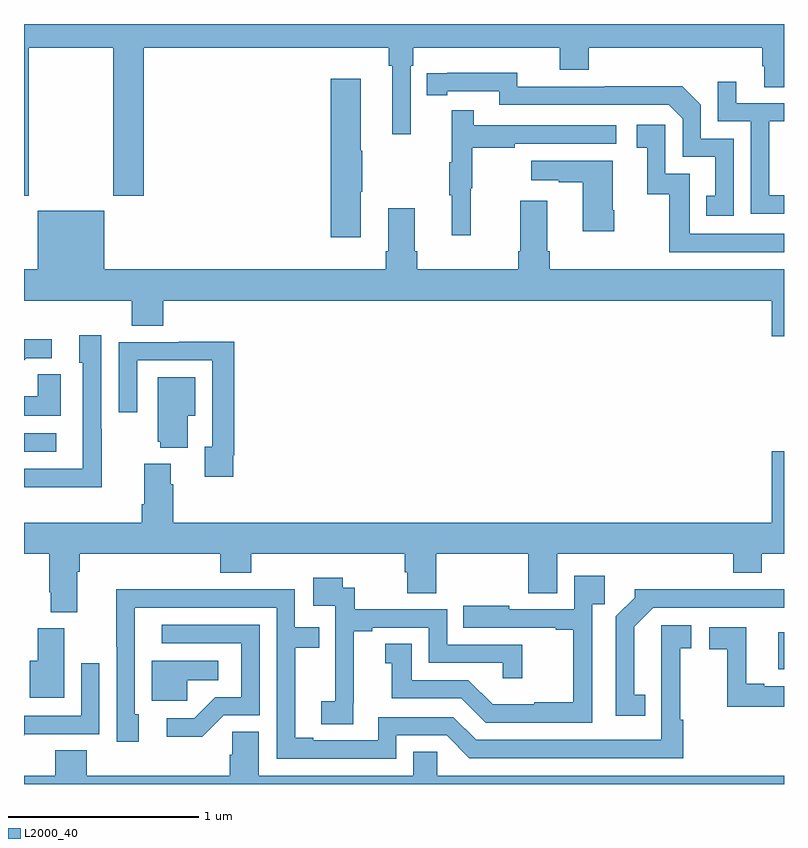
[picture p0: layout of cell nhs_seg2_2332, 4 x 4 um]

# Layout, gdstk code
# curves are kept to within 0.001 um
import gdstk
lib = gdstk.Library(unit=1e-6, precision=1e-09)
def R(c, l, rs):  # rectangles x0, y0, x1, y1
    for r in rs: c.add(gdstk.rectangle(r[:2], r[2:], *l))
def P(c, l, *ps):  # polygons
    for p in ps: c.add(gdstk.Polygon(p, *l))
L2000_40 = (2000, 40)

nhs_seg2_2332 = lib.new_cell('nhs_seg2_2332')
R(nhs_seg2_2332, L2000_40, [(236.969,604.403,237,604.6), (233,605.55,233.17,605.646)])
P(nhs_seg2_2332, L2000_40, [(233.025,607.676),(233.47,607.676),(233.47,606.897),(233.63,606.897),(233.63,607.676),(234.919,607.676),(234.919,607.58),(234.938,607.58),(234.938,607.221),(235.035,607.221),(235.035,607.58),(235.049,607.58),(235.049,607.676),(235.82,607.676),(235.82,607.559),(235.973,607.559),(235.973,607.676),(236.885,607.676),(236.885,607.578),(236.897,607.578),(236.897,607.468),(237,607.468),(237,607.8),(233,607.8),(233,606.897),(233.025,606.897)],
  [(236.736,607.197),(236.562,607.197),(236.562,607.374),(236.464,607.472),(236.056,607.472),(236.056,607.47),(235.596,607.47),(235.596,607.543),(235.12,607.542),(235.12,607.426),(235.228,607.426),(235.228,607.446),(235.5,607.446),(235.5,607.374),(236.394,607.374),(236.466,607.302),(236.466,607.101),(236.639,607.101),(236.639,606.897),(236.59,606.897),(236.59,606.792),(236.736,606.792)],
  [(234.772,606.916),(234.78,606.916),(234.78,607.133),(234.772,607.133),(234.772,607.513),(234.614,607.513),(234.614,606.678),(234.772,606.678)],
  [(237,606.898),(236.922,606.898),(236.922,607.287),(237,607.287),(237,607.383),(236.749,607.383),(236.749,607.495),(236.652,607.495),(236.652,607.287),(236.826,607.287),(236.826,606.801),(237,606.801)],
  [(235.352,606.936),(235.36,606.936),(235.36,607.15),(235.583,607.15),(235.583,607.17),(236.116,607.17),(236.116,607.266),(235.367,607.266),(235.367,607.345),(235.25,607.345),(235.25,607.073),(235.239,607.073),(235.239,606.899),(235.25,606.899),(235.25,606.687),(235.352,606.687)],
  [(237,606.696),(236.505,606.696),(236.505,607.011),(236.376,607.011),(236.376,607.27),(236.226,607.27),(236.226,607.149),(236.279,607.149),(236.279,606.903),(236.397,606.903),(236.397,606.6),(237,606.6)],
  [(236.106,606.82),(236.098,606.82),(236.098,607.081),(235.671,607.081),(235.671,606.977),(235.814,606.977),(235.814,606.967),(235.94,606.967),(235.94,606.708),(236.106,606.708)],
  [(236.936,606.156),(237,606.156),(237,606.508),(235.766,606.508),(235.766,606.604),(235.753,606.604),(235.753,606.871),(235.613,606.871),(235.613,606.604),(235.601,606.604),(235.601,606.508),(235.07,606.508),(235.07,606.604),(235.057,606.604),(235.057,606.829),(234.917,606.829),(234.917,606.604),(234.905,606.604),(234.905,606.508),(233.422,606.508),(233.422,606.817),(233.072,606.817),(233.072,606.508),(233,606.508),(233,606.344),(233.567,606.344),(233.567,606.211),(233.732,606.211),(233.732,606.344),(236.936,606.344)],
  [(233.409,605.669),(233.406,605.669),(233.406,606.163),(233.291,606.163),(233.291,606.018),(233.31,606.018),(233.31,605.46),(233,605.46),(233,605.363),(233.409,605.363)],
  [(233.011,606.042),(233.146,606.042),(233.146,606.14),(233,606.14),(233,606.031)],
  [(234.1,605.53),(234.107,605.53),(234.107,606.128),(233.815,606.128),(233.815,606.126),(233.499,606.126),(233.499,605.757),(233.595,605.757),(233.595,606.03),(233.991,606.03),(233.991,605.574),(233.951,605.574),(233.951,605.418),(234.1,605.418)],
  [(233.194,605.957),(233.073,605.957),(233.073,605.842),(233,605.842),(233,605.738),(233.194,605.738)],
  [(233.863,605.738),(233.902,605.738),(233.902,605.941),(233.705,605.941),(233.705,605.601),(233.717,605.601),(233.717,605.57),(233.863,605.57)],
  [(233.281,604.916),(233.294,604.916),(233.294,605.012),(234.032,605.012),(234.032,604.913),(234.197,604.913),(234.197,605.012),(235.004,605.012),(235.004,604.914),(235.016,604.914),(235.016,604.804),(235.169,604.804),(235.169,605.012),(235.655,605.012),(235.655,604.804),(235.807,604.804),(235.807,605.012),(236.732,605.012),(236.732,604.913),(236.884,604.913),(236.884,605.012),(237,605.012),(237,605.551),(236.936,605.551),(236.936,605.176),(233.786,605.176),(233.786,605.378),(233.773,605.378),(233.773,605.485),(233.633,605.485),(233.633,605.272),(233.621,605.272),(233.621,605.176),(233,605.176),(233,605.012),(233.134,605.012),(233.134,604.81),(233.141,604.81),(233.141,604.705),(233.281,604.705)],
  [(235.992,604.745),(236.057,604.745),(236.057,604.897),(235.896,604.897),(235.896,604.719),(235.555,604.719),(235.555,604.738),(235.312,604.738),(235.312,604.623),(235.799,604.623),(235.799,604.611),(235.891,604.611),(235.891,604.231),(235.685,604.231),(235.685,604.219),(235.466,604.219),(235.338,604.347),(235.042,604.347),(235.042,604.538),(234.902,604.538),(234.902,604.435),(234.935,604.435),(234.935,604.251),(235.302,604.251),(235.431,604.122),(235.992,604.122)],
  [(234.734,604.225),(234.736,604.225),(234.736,604.603),(234.832,604.603),(234.832,604.623),(235.131,604.623),(235.131,604.437),(235.521,604.437),(235.521,604.356),(235.622,604.356),(235.622,604.533),(235.227,604.533),(235.227,604.719),(234.74,604.719),(234.74,604.833),(234.678,604.833),(234.678,604.885),(234.522,604.885),(234.522,604.737),(234.639,604.737),(234.639,604.433),(234.638,604.433),(234.638,604.236),(234.564,604.236),(234.564,604.114),(234.734,604.114)],
  [(236.27,604.271),(236.212,604.271),(236.212,604.627),(236.313,604.728),(237,604.728),(237,604.824),(236.648,604.824),(236.648,604.826),(236.214,604.826),(236.214,604.781),(236.115,604.682),(236.115,604.158),(236.27,604.158)],
  [(234.96,604.056),(235.224,604.056),(235.344,603.936),(236.471,603.936),(236.471,604.139),(236.454,604.139),(236.454,604.515),(236.512,604.515),(236.512,604.636),(236.354,604.636),(236.355,604.032),(235.38,604.032),(235.26,604.152),(234.864,604.152),(234.864,604.029),(234.523,604.029),(234.523,604.044),(234.427,604.044),(234.427,604.518),(234.554,604.518),(234.554,604.626),(234.426,604.626),(234.426,604.824),(233.948,604.824),(233.948,604.826),(233.486,604.826),(233.487,604.023),(233.605,604.023),(233.605,604.167),(233.583,604.167),(233.583,604.728),(234.33,604.728),(234.33,603.933),(234.96,603.933)],
  [(234.051,604.161),(234.24,604.161),(234.24,604.638),(233.724,604.638),(233.724,604.542),(234.144,604.542),(234.144,604.257),(234.006,604.257),(233.895,604.146),(233.751,604.146),(233.751,604.049),(233.938,604.049)],
  [(237,604.314),(236.896,604.314),(236.896,604.327),(236.8,604.327),(236.8,604.626),(236.607,604.626),(236.607,604.51),(236.701,604.51),(236.701,604.206),(237,604.206)],
  [(233.212,604.62),(233.072,604.62),(233.072,604.45),(233.03,604.45),(233.03,604.253),(233.212,604.253)],
  [(233.859,604.346),(234.022,604.346),(234.022,604.45),(233.672,604.45),(233.672,604.239),(233.859,604.239)],
  [(233.001,604.062),(233.397,604.062),(233.397,604.435),(233.301,604.435),(233.301,604.158),(233,604.158),(233,604.055),(233.001,604.055)],
  [(237,603.844),(235.176,603.844),(235.176,603.971),(235.049,603.971),(235.049,603.844),(234.235,603.844),(234.235,604.076),(234.096,604.076),(234.096,603.953),(234.083,603.953),(234.083,603.844),(233.33,603.844),(233.33,603.977),(233.165,603.977),(233.165,603.844),(233,603.844),(233,603.8),(237,603.8)])

lib.write_gds('nhs_seg2_2332.gds')
